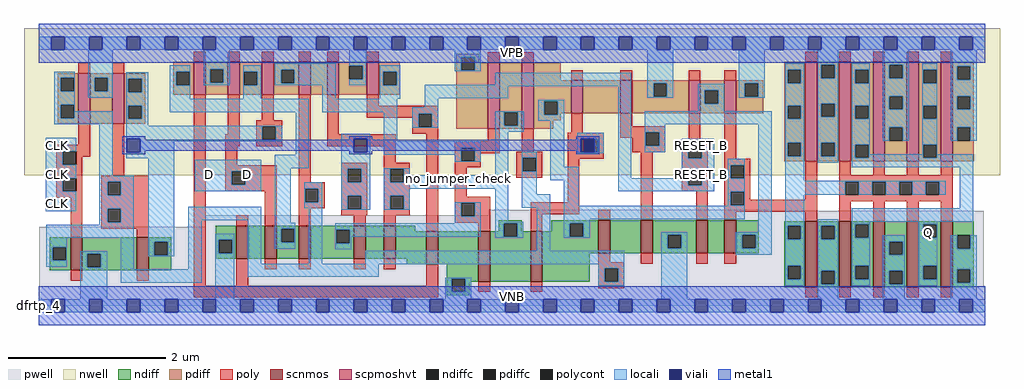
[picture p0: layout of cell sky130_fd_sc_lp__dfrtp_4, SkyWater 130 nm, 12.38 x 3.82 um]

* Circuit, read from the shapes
.subckt sky130_fd_sc_lp__dfrtp_4 CLK D RESET_B VGND VNB VPB VPWR Q
XM1 VGND CLK n1 VNB sky130_fd_pr__nfet_01v8 w=0.42 l=0.15
XM2 n2 n1 VGND VNB sky130_fd_pr__nfet_01v8 w=0.42 l=0.15
XM3 n3 RESET_B VGND VNB sky130_fd_pr__nfet_01v8 w=0.42 l=0.15
XM4 n4 D n3 VNB sky130_fd_pr__nfet_01v8 w=0.42 l=0.15
XM5 n5 n1 n4 VNB sky130_fd_pr__nfet_01v8 w=0.42 l=0.15
XM6 n6 n2 n5 VNB sky130_fd_pr__nfet_01v8 w=0.42 l=0.15
XM7 n7 n8 n6 VNB sky130_fd_pr__nfet_01v8 w=0.42 l=0.15
XM8 VGND RESET_B n7 VNB sky130_fd_pr__nfet_01v8 w=0.42 l=0.15
XM9 n8 n5 VGND VNB sky130_fd_pr__nfet_01v8 w=0.64 l=0.15
XM10 n9 n2 n8 VNB sky130_fd_pr__nfet_01v8 w=0.64 l=0.15
XM11 n10 n1 n9 VNB sky130_fd_pr__nfet_01v8 w=0.42 l=0.15
XM12 VGND n11 n10 VNB sky130_fd_pr__nfet_01v8 w=0.42 l=0.15
XM13 n12 RESET_B VGND VNB sky130_fd_pr__nfet_01v8 w=0.42 l=0.15
XM14 n11 n9 n12 VNB sky130_fd_pr__nfet_01v8 w=0.42 l=0.15
XM15 VGND n9 n13 VNB sky130_fd_pr__nfet_01v8 w=0.84 l=0.15
XM16 Q n13 VGND VNB sky130_fd_pr__nfet_01v8 w=0.84 l=0.15 m=4
XM17 VPWR CLK n1 VPB sky130_fd_pr__pfet_01v8_hvt w=0.64 l=0.15
XM18 n2 n1 VPWR VPB sky130_fd_pr__pfet_01v8_hvt w=0.64 l=0.15
XM19 VPWR RESET_B n4 VPB sky130_fd_pr__pfet_01v8_hvt w=0.42 l=0.15
XM20 n4 D VPWR VPB sky130_fd_pr__pfet_01v8_hvt w=0.42 l=0.15
XM21 n5 n2 n4 VPB sky130_fd_pr__pfet_01v8_hvt w=0.42 l=0.15
XM22 n14 n1 n5 VPB sky130_fd_pr__pfet_01v8_hvt w=0.42 l=0.15
XM23 VPWR n8 n14 VPB sky130_fd_pr__pfet_01v8_hvt w=0.42 l=0.15
XM24 n5 RESET_B VPWR VPB sky130_fd_pr__pfet_01v8_hvt w=0.42 l=0.15
XM25 n8 n5 VPWR VPB sky130_fd_pr__pfet_01v8_hvt w=0.84 l=0.15
XM26 n9 n1 n8 VPB sky130_fd_pr__pfet_01v8_hvt w=0.84 l=0.15
XM27 n15 n2 n9 VPB sky130_fd_pr__pfet_01v8_hvt w=0.42 l=0.15
XM28 VPWR n11 n15 VPB sky130_fd_pr__pfet_01v8_hvt w=0.42 l=0.15
XM29 n11 RESET_B VPWR VPB sky130_fd_pr__pfet_01v8_hvt w=0.42 l=0.15
XM30 VPWR n9 n11 VPB sky130_fd_pr__pfet_01v8_hvt w=0.42 l=0.15
XM31 VPWR n9 n13 VPB sky130_fd_pr__pfet_01v8_hvt w=1.26 l=0.15
XM32 Q n13 VPWR VPB sky130_fd_pr__pfet_01v8_hvt w=1.26 l=0.15 m=4
.ends

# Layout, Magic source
magic
tech sky130A
magscale 1 2
<< nwell >>
rect -38 331 2438 704
<< pwell >>
rect 1141 241 1852 243
rect 1141 229 2397 241
rect 422 200 2397 229
rect 1 49 2397 200
rect 0 0 2400 49
<< scnmos >>
rect 80 90 110 174
rect 248 90 278 174
rect 501 119 531 203
rect 573 119 603 203
rect 659 119 689 203
rect 799 119 829 203
rect 875 119 905 203
rect 983 105 1013 189
rect 1115 61 1145 189
rect 1247 61 1277 189
rect 1419 133 1449 217
rect 1527 133 1557 217
rect 1667 133 1697 217
rect 1739 133 1769 217
rect 1944 47 1974 215
rect 2030 47 2060 215
rect 2116 47 2146 215
rect 2202 47 2232 215
rect 2288 47 2318 215
<< scpmoshvt >>
rect 100 462 130 590
rect 186 462 216 590
rect 393 535 423 619
rect 479 535 509 619
rect 565 535 595 619
rect 659 535 689 619
rect 731 535 761 619
rect 832 535 862 619
rect 1139 449 1169 617
rect 1225 449 1255 617
rect 1350 488 1380 572
rect 1475 488 1505 572
rect 1648 488 1678 572
rect 1739 488 1769 572
rect 1944 367 1974 619
rect 2030 367 2060 619
rect 2116 367 2146 619
rect 2202 367 2232 619
rect 2288 367 2318 619
<< ndiff >>
rect 27 149 80 174
rect 27 115 35 149
rect 69 115 80 149
rect 27 90 80 115
rect 110 132 248 174
rect 110 98 123 132
rect 157 98 248 132
rect 110 90 248 98
rect 278 162 335 174
rect 278 128 293 162
rect 327 128 335 162
rect 278 90 335 128
rect 448 167 501 203
rect 448 133 456 167
rect 490 133 501 167
rect 448 119 501 133
rect 531 119 573 203
rect 603 195 659 203
rect 603 161 614 195
rect 648 161 659 195
rect 603 119 659 161
rect 689 193 799 203
rect 689 159 754 193
rect 788 159 799 193
rect 689 119 799 159
rect 829 119 875 203
rect 905 189 955 203
rect 1167 209 1225 217
rect 1167 189 1179 209
rect 905 119 983 189
rect 933 105 983 119
rect 1013 105 1115 189
rect 1035 69 1115 105
rect 1035 35 1047 69
rect 1081 61 1115 69
rect 1145 175 1179 189
rect 1213 189 1225 209
rect 1299 209 1419 217
rect 1299 189 1347 209
rect 1213 175 1247 189
rect 1145 61 1247 175
rect 1277 175 1347 189
rect 1381 175 1419 209
rect 1277 133 1419 175
rect 1449 133 1527 217
rect 1557 180 1667 217
rect 1557 146 1595 180
rect 1629 146 1667 180
rect 1557 133 1667 146
rect 1697 133 1739 217
rect 1769 180 1826 217
rect 1769 146 1784 180
rect 1818 146 1826 180
rect 1769 133 1826 146
rect 1891 203 1944 215
rect 1891 169 1899 203
rect 1933 169 1944 203
rect 1277 61 1397 133
rect 1081 35 1093 61
rect 1891 101 1944 169
rect 1891 67 1899 101
rect 1933 67 1944 101
rect 1891 47 1944 67
rect 1974 203 2030 215
rect 1974 169 1985 203
rect 2019 169 2030 203
rect 1974 89 2030 169
rect 1974 55 1985 89
rect 2019 55 2030 89
rect 1974 47 2030 55
rect 2060 207 2116 215
rect 2060 173 2071 207
rect 2105 173 2116 207
rect 2060 101 2116 173
rect 2060 67 2071 101
rect 2105 67 2116 101
rect 2060 47 2116 67
rect 2146 163 2202 215
rect 2146 129 2157 163
rect 2191 129 2202 163
rect 2146 89 2202 129
rect 2146 55 2157 89
rect 2191 55 2202 89
rect 2146 47 2202 55
rect 2232 207 2288 215
rect 2232 173 2243 207
rect 2277 173 2288 207
rect 2232 101 2288 173
rect 2232 67 2243 101
rect 2277 67 2288 101
rect 2232 47 2288 67
rect 2318 179 2371 215
rect 2318 145 2329 179
rect 2363 145 2371 179
rect 2318 93 2371 145
rect 2318 59 2329 93
rect 2363 59 2371 93
rect 2318 47 2371 59
rect 1035 27 1093 35
<< pdiff >>
rect 1059 631 1117 639
rect 340 594 393 619
rect 47 578 100 590
rect 47 544 55 578
rect 89 544 100 578
rect 47 510 100 544
rect 47 476 55 510
rect 89 476 100 510
rect 47 462 100 476
rect 130 578 186 590
rect 130 544 141 578
rect 175 544 186 578
rect 130 462 186 544
rect 216 576 269 590
rect 216 542 227 576
rect 261 542 269 576
rect 216 508 269 542
rect 340 560 348 594
rect 382 560 393 594
rect 340 535 393 560
rect 423 600 479 619
rect 423 566 434 600
rect 468 566 479 600
rect 423 535 479 566
rect 509 594 565 619
rect 509 560 520 594
rect 554 560 565 594
rect 509 535 565 560
rect 595 599 659 619
rect 595 565 614 599
rect 648 565 659 599
rect 595 535 659 565
rect 689 535 731 619
rect 761 609 832 619
rect 761 575 787 609
rect 821 575 832 609
rect 761 535 832 575
rect 862 594 915 619
rect 862 560 873 594
rect 907 560 915 594
rect 862 535 915 560
rect 1059 597 1071 631
rect 1105 617 1117 631
rect 1105 597 1139 617
rect 216 474 227 508
rect 261 474 269 508
rect 216 462 269 474
rect 1059 449 1139 597
rect 1169 491 1225 617
rect 1169 457 1180 491
rect 1214 457 1225 491
rect 1169 449 1225 457
rect 1255 572 1324 617
rect 1891 599 1944 619
rect 1255 519 1350 572
rect 1255 485 1282 519
rect 1316 488 1350 519
rect 1380 488 1475 572
rect 1505 564 1648 572
rect 1505 530 1559 564
rect 1593 530 1648 564
rect 1505 488 1648 530
rect 1678 547 1739 572
rect 1678 513 1689 547
rect 1723 513 1739 547
rect 1678 488 1739 513
rect 1769 564 1837 572
rect 1769 530 1791 564
rect 1825 530 1837 564
rect 1769 488 1837 530
rect 1891 565 1899 599
rect 1933 565 1944 599
rect 1891 508 1944 565
rect 1316 485 1324 488
rect 1255 471 1324 485
rect 1255 449 1305 471
rect 1891 474 1899 508
rect 1933 474 1944 508
rect 1891 413 1944 474
rect 1891 379 1899 413
rect 1933 379 1944 413
rect 1891 367 1944 379
rect 1974 611 2030 619
rect 1974 577 1985 611
rect 2019 577 2030 611
rect 1974 513 2030 577
rect 1974 479 1985 513
rect 2019 479 2030 513
rect 1974 413 2030 479
rect 1974 379 1985 413
rect 2019 379 2030 413
rect 1974 367 2030 379
rect 2060 599 2116 619
rect 2060 565 2071 599
rect 2105 565 2116 599
rect 2060 508 2116 565
rect 2060 474 2071 508
rect 2105 474 2116 508
rect 2060 409 2116 474
rect 2060 375 2071 409
rect 2105 375 2116 409
rect 2060 367 2116 375
rect 2146 611 2202 619
rect 2146 577 2157 611
rect 2191 577 2202 611
rect 2146 532 2202 577
rect 2146 498 2157 532
rect 2191 498 2202 532
rect 2146 453 2202 498
rect 2146 419 2157 453
rect 2191 419 2202 453
rect 2146 367 2202 419
rect 2232 599 2288 619
rect 2232 565 2243 599
rect 2277 565 2288 599
rect 2232 508 2288 565
rect 2232 474 2243 508
rect 2277 474 2288 508
rect 2232 409 2288 474
rect 2232 375 2243 409
rect 2277 375 2288 409
rect 2232 367 2288 375
rect 2318 607 2371 619
rect 2318 573 2329 607
rect 2363 573 2371 607
rect 2318 532 2371 573
rect 2318 498 2329 532
rect 2363 498 2371 532
rect 2318 453 2371 498
rect 2318 419 2329 453
rect 2363 419 2371 453
rect 2318 367 2371 419
<< ndiffc >>
rect 35 115 69 149
rect 123 98 157 132
rect 293 128 327 162
rect 456 133 490 167
rect 614 161 648 195
rect 754 159 788 193
rect 1047 35 1081 69
rect 1179 175 1213 209
rect 1347 175 1381 209
rect 1595 146 1629 180
rect 1784 146 1818 180
rect 1899 169 1933 203
rect 1899 67 1933 101
rect 1985 169 2019 203
rect 1985 55 2019 89
rect 2071 173 2105 207
rect 2071 67 2105 101
rect 2157 129 2191 163
rect 2157 55 2191 89
rect 2243 173 2277 207
rect 2243 67 2277 101
rect 2329 145 2363 179
rect 2329 59 2363 93
<< pdiffc >>
rect 55 544 89 578
rect 55 476 89 510
rect 141 544 175 578
rect 227 542 261 576
rect 348 560 382 594
rect 434 566 468 600
rect 520 560 554 594
rect 614 565 648 599
rect 787 575 821 609
rect 873 560 907 594
rect 1071 597 1105 631
rect 227 474 261 508
rect 1180 457 1214 491
rect 1282 485 1316 519
rect 1559 530 1593 564
rect 1689 513 1723 547
rect 1791 530 1825 564
rect 1899 565 1933 599
rect 1899 474 1933 508
rect 1899 379 1933 413
rect 1985 577 2019 611
rect 1985 479 2019 513
rect 1985 379 2019 413
rect 2071 565 2105 599
rect 2071 474 2105 508
rect 2071 375 2105 409
rect 2157 577 2191 611
rect 2157 498 2191 532
rect 2157 419 2191 453
rect 2243 565 2277 599
rect 2243 474 2277 508
rect 2243 375 2277 409
rect 2329 573 2363 607
rect 2329 498 2363 532
rect 2329 419 2363 453
<< poly >>
rect 393 619 423 645
rect 479 619 509 645
rect 565 619 595 645
rect 659 619 689 645
rect 731 619 761 645
rect 832 619 862 645
rect 100 590 130 616
rect 186 590 216 616
rect 1139 617 1169 643
rect 1225 617 1255 643
rect 1944 619 1974 645
rect 2030 619 2060 645
rect 2116 619 2146 645
rect 2202 619 2232 645
rect 2288 619 2318 645
rect 100 408 130 462
rect 44 392 130 408
rect 44 358 60 392
rect 94 378 130 392
rect 94 358 110 378
rect 44 324 110 358
rect 186 330 216 462
rect 44 290 60 324
rect 94 290 110 324
rect 44 274 110 290
rect 80 174 110 274
rect 158 314 278 330
rect 158 280 174 314
rect 208 280 278 314
rect 158 246 278 280
rect 158 212 174 246
rect 208 212 278 246
rect 158 196 278 212
rect 248 174 278 196
rect 80 64 110 90
rect 248 64 278 90
rect 393 51 423 535
rect 479 435 509 535
rect 565 471 595 535
rect 473 405 509 435
rect 551 455 617 471
rect 551 421 567 455
rect 601 421 617 455
rect 551 405 617 421
rect 473 357 503 405
rect 473 341 603 357
rect 473 307 489 341
rect 523 307 603 341
rect 473 291 603 307
rect 501 203 531 229
rect 573 203 603 291
rect 659 313 689 535
rect 731 435 761 535
rect 832 507 862 535
rect 832 487 1013 507
rect 832 477 963 487
rect 947 453 963 477
rect 997 453 1013 487
rect 947 437 1013 453
rect 1350 572 1380 598
rect 1475 572 1505 598
rect 1648 572 1678 598
rect 1739 572 1769 598
rect 731 405 905 435
rect 875 363 905 405
rect 767 347 833 363
rect 767 313 783 347
rect 817 313 833 347
rect 659 297 725 313
rect 659 263 675 297
rect 709 263 725 297
rect 659 247 725 263
rect 767 279 833 313
rect 659 203 689 247
rect 767 245 783 279
rect 817 245 833 279
rect 767 229 833 245
rect 875 347 941 363
rect 875 313 891 347
rect 925 313 941 347
rect 875 279 941 313
rect 875 245 891 279
rect 925 245 941 279
rect 875 229 941 245
rect 799 203 829 229
rect 875 203 905 229
rect 983 189 1013 437
rect 1139 417 1169 449
rect 1055 401 1169 417
rect 1055 367 1071 401
rect 1105 387 1169 401
rect 1225 391 1255 449
rect 1350 439 1380 488
rect 1475 456 1505 488
rect 1475 440 1589 456
rect 1341 423 1433 439
rect 1475 426 1539 440
rect 1105 367 1121 387
rect 1055 351 1121 367
rect 1211 375 1277 391
rect 1055 277 1085 351
rect 1211 341 1227 375
rect 1261 341 1277 375
rect 1211 325 1277 341
rect 1341 389 1383 423
rect 1417 389 1433 423
rect 1505 406 1539 426
rect 1573 406 1589 440
rect 1648 424 1678 488
rect 1505 390 1589 406
rect 1631 408 1697 424
rect 1341 373 1433 389
rect 1055 261 1145 277
rect 1341 262 1371 373
rect 1055 227 1071 261
rect 1105 227 1145 261
rect 1055 211 1145 227
rect 1247 232 1371 262
rect 1115 189 1145 211
rect 501 51 531 119
rect 573 93 603 119
rect 659 93 689 119
rect 799 93 829 119
rect 875 93 905 119
rect 983 51 1013 105
rect 393 21 1013 51
rect 1247 189 1277 232
rect 1419 217 1449 243
rect 1527 217 1557 390
rect 1631 374 1647 408
rect 1681 374 1697 408
rect 1631 340 1697 374
rect 1631 306 1647 340
rect 1681 306 1697 340
rect 1631 290 1697 306
rect 1667 217 1697 290
rect 1739 373 1769 488
rect 1739 357 1805 373
rect 1739 323 1755 357
rect 1789 323 1805 357
rect 1739 289 1805 323
rect 1739 255 1755 289
rect 1789 269 1805 289
rect 1944 269 1974 367
rect 1789 255 1974 269
rect 1739 239 1974 255
rect 1739 217 1769 239
rect 1944 215 1974 239
rect 2030 331 2060 367
rect 2116 331 2146 367
rect 2202 331 2232 367
rect 2288 331 2318 367
rect 2030 315 2318 331
rect 2030 281 2046 315
rect 2080 281 2114 315
rect 2148 281 2182 315
rect 2216 281 2250 315
rect 2284 281 2318 315
rect 2030 265 2318 281
rect 2030 215 2060 265
rect 2116 215 2146 265
rect 2202 215 2232 265
rect 2288 215 2318 265
rect 1419 111 1449 133
rect 1419 95 1485 111
rect 1527 107 1557 133
rect 1667 107 1697 133
rect 1739 107 1769 133
rect 1419 61 1435 95
rect 1469 61 1485 95
rect 1115 35 1145 61
rect 1247 35 1277 61
rect 1419 45 1485 61
rect 1944 21 1974 47
rect 2030 21 2060 47
rect 2116 21 2146 47
rect 2202 21 2232 47
rect 2288 21 2318 47
<< polycont >>
rect 60 358 94 392
rect 60 290 94 324
rect 174 280 208 314
rect 174 212 208 246
rect 567 421 601 455
rect 489 307 523 341
rect 963 453 997 487
rect 783 313 817 347
rect 675 263 709 297
rect 783 245 817 279
rect 891 313 925 347
rect 891 245 925 279
rect 1071 367 1105 401
rect 1227 341 1261 375
rect 1383 389 1417 423
rect 1539 406 1573 440
rect 1071 227 1105 261
rect 1647 374 1681 408
rect 1647 306 1681 340
rect 1755 323 1789 357
rect 1755 255 1789 289
rect 2046 281 2080 315
rect 2114 281 2148 315
rect 2182 281 2216 315
rect 2250 281 2284 315
rect 1435 61 1469 95
<< locali >>
rect 0 649 31 683
rect 65 649 127 683
rect 161 649 223 683
rect 257 649 319 683
rect 353 649 415 683
rect 449 649 511 683
rect 545 649 607 683
rect 641 649 703 683
rect 737 649 799 683
rect 833 649 895 683
rect 929 649 991 683
rect 1025 649 1087 683
rect 1121 649 1183 683
rect 1217 649 1279 683
rect 1313 649 1375 683
rect 1409 649 1471 683
rect 1505 649 1567 683
rect 1601 649 1663 683
rect 1697 649 1759 683
rect 1793 649 1855 683
rect 1889 649 1951 683
rect 1985 649 2047 683
rect 2081 649 2143 683
rect 2177 649 2239 683
rect 2273 649 2335 683
rect 2369 649 2400 683
rect 39 578 91 594
rect 39 544 55 578
rect 89 544 91 578
rect 39 510 91 544
rect 125 578 187 649
rect 332 594 384 610
rect 125 544 141 578
rect 175 544 187 578
rect 125 528 187 544
rect 221 576 277 592
rect 221 542 227 576
rect 261 542 277 576
rect 39 476 55 510
rect 89 494 91 510
rect 221 508 277 542
rect 89 476 187 494
rect 39 460 187 476
rect 17 392 94 426
rect 17 358 60 392
rect 17 324 94 358
rect 17 290 60 324
rect 17 240 94 290
rect 153 330 187 460
rect 221 474 227 508
rect 261 474 277 508
rect 332 560 348 594
rect 382 560 384 594
rect 332 525 384 560
rect 418 600 484 649
rect 418 566 434 600
rect 468 566 484 600
rect 418 559 484 566
rect 518 594 564 610
rect 518 560 520 594
rect 554 560 564 594
rect 518 525 564 560
rect 598 599 753 615
rect 598 565 614 599
rect 648 565 753 599
rect 598 559 753 565
rect 787 609 830 649
rect 1055 631 1121 649
rect 821 575 830 609
rect 787 559 830 575
rect 864 594 917 610
rect 1055 597 1071 631
rect 1105 597 1121 631
rect 1055 595 1121 597
rect 864 560 873 594
rect 907 560 917 594
rect 1157 561 1503 591
rect 719 525 753 559
rect 864 525 917 560
rect 979 557 1503 561
rect 979 527 1191 557
rect 332 491 685 525
rect 719 491 909 525
rect 979 504 1013 527
rect 221 457 277 474
rect 221 455 617 457
rect 221 424 567 455
rect 221 390 223 424
rect 257 421 567 424
rect 601 421 617 455
rect 257 417 617 421
rect 257 390 343 417
rect 221 374 343 390
rect 651 383 685 491
rect 153 314 241 330
rect 153 280 174 314
rect 208 280 241 314
rect 153 246 241 280
rect 153 212 174 246
rect 208 212 241 246
rect 153 206 241 212
rect 19 172 241 206
rect 19 149 71 172
rect 19 115 35 149
rect 69 115 71 149
rect 19 99 71 115
rect 105 132 173 138
rect 105 98 123 132
rect 157 98 173 132
rect 105 17 173 98
rect 207 92 241 172
rect 277 162 343 374
rect 395 341 564 370
rect 395 307 489 341
rect 523 307 564 341
rect 395 291 564 307
rect 598 349 685 383
rect 767 424 841 436
rect 767 390 799 424
rect 833 390 841 424
rect 277 128 293 162
rect 327 128 343 162
rect 277 126 343 128
rect 379 217 564 251
rect 379 92 413 217
rect 207 58 413 92
rect 447 167 496 183
rect 447 133 456 167
rect 490 133 496 167
rect 447 17 496 133
rect 530 107 564 217
rect 598 211 639 349
rect 767 347 841 390
rect 875 417 909 491
rect 947 487 1013 504
rect 1266 519 1332 523
rect 947 453 963 487
rect 997 453 1013 487
rect 947 451 1013 453
rect 1157 491 1230 493
rect 1157 457 1180 491
rect 1214 457 1230 491
rect 1266 485 1282 519
rect 1316 485 1332 519
rect 1266 469 1332 485
rect 1157 441 1230 457
rect 875 401 1121 417
rect 875 383 1071 401
rect 1055 367 1071 383
rect 1105 367 1121 401
rect 1055 365 1121 367
rect 767 313 783 347
rect 817 313 841 347
rect 673 297 718 313
rect 673 263 675 297
rect 709 263 718 297
rect 673 247 718 263
rect 598 195 650 211
rect 598 161 614 195
rect 648 161 650 195
rect 598 145 650 161
rect 684 107 718 247
rect 767 279 841 313
rect 767 245 783 279
rect 817 245 841 279
rect 767 243 841 245
rect 875 347 941 349
rect 875 313 891 347
rect 925 331 941 347
rect 1157 331 1191 441
rect 925 313 1191 331
rect 875 297 1191 313
rect 875 279 941 297
rect 875 245 891 279
rect 925 245 941 279
rect 875 243 941 245
rect 1055 261 1121 263
rect 1055 227 1071 261
rect 1105 227 1121 261
rect 1055 209 1121 227
rect 752 193 1121 209
rect 752 159 754 193
rect 788 175 1121 193
rect 1157 213 1191 297
rect 1225 375 1263 391
rect 1225 341 1227 375
rect 1261 341 1263 375
rect 1225 283 1263 341
rect 1297 353 1332 469
rect 1366 424 1433 439
rect 1366 390 1375 424
rect 1409 423 1433 424
rect 1366 389 1383 390
rect 1417 389 1433 423
rect 1366 387 1433 389
rect 1297 319 1369 353
rect 1225 249 1297 283
rect 1157 209 1229 213
rect 1157 175 1179 209
rect 1213 175 1229 209
rect 788 159 792 175
rect 1157 173 1229 175
rect 752 143 792 159
rect 1263 139 1297 249
rect 1331 254 1369 319
rect 1469 324 1503 557
rect 1543 564 1609 649
rect 1543 530 1559 564
rect 1593 530 1609 564
rect 1775 564 1841 649
rect 1543 528 1609 530
rect 1673 547 1739 563
rect 1673 513 1689 547
rect 1723 513 1739 547
rect 1775 530 1791 564
rect 1825 530 1841 564
rect 1775 528 1841 530
rect 1893 599 1942 615
rect 1893 565 1899 599
rect 1933 565 1942 599
rect 1673 494 1739 513
rect 1893 508 1942 565
rect 1537 460 1859 494
rect 1537 440 1589 460
rect 1537 406 1539 440
rect 1573 406 1589 440
rect 1537 390 1589 406
rect 1631 408 1713 424
rect 1631 374 1647 408
rect 1681 374 1713 408
rect 1631 340 1713 374
rect 1631 324 1647 340
rect 1469 306 1647 324
rect 1681 306 1713 340
rect 1469 290 1713 306
rect 1747 357 1791 373
rect 1747 323 1755 357
rect 1789 323 1791 357
rect 1747 289 1791 323
rect 1747 255 1755 289
rect 1789 255 1791 289
rect 1747 254 1791 255
rect 1331 220 1791 254
rect 1331 209 1397 220
rect 1331 175 1347 209
rect 1381 175 1397 209
rect 1825 186 1859 460
rect 1331 173 1397 175
rect 1579 180 1645 186
rect 1579 146 1595 180
rect 1629 146 1645 180
rect 828 107 1485 139
rect 530 105 1485 107
rect 530 73 862 105
rect 1419 95 1485 105
rect 1031 69 1097 71
rect 1031 35 1047 69
rect 1081 35 1097 69
rect 1419 61 1435 95
rect 1469 61 1485 95
rect 1419 51 1485 61
rect 1031 17 1097 35
rect 1579 17 1645 146
rect 1768 180 1859 186
rect 1768 146 1784 180
rect 1818 146 1859 180
rect 1768 130 1859 146
rect 1893 474 1899 508
rect 1933 474 1942 508
rect 1893 413 1942 474
rect 1893 379 1899 413
rect 1933 379 1942 413
rect 1893 317 1942 379
rect 1976 611 2028 649
rect 1976 577 1985 611
rect 2019 577 2028 611
rect 1976 513 2028 577
rect 1976 479 1985 513
rect 2019 479 2028 513
rect 1976 413 2028 479
rect 1976 379 1985 413
rect 2019 379 2028 413
rect 1976 363 2028 379
rect 2062 599 2107 615
rect 2062 565 2071 599
rect 2105 565 2107 599
rect 2062 508 2107 565
rect 2062 474 2071 508
rect 2105 474 2107 508
rect 2062 409 2107 474
rect 2141 611 2207 649
rect 2141 577 2157 611
rect 2191 577 2207 611
rect 2141 532 2207 577
rect 2141 498 2157 532
rect 2191 498 2207 532
rect 2141 453 2207 498
rect 2141 419 2157 453
rect 2191 419 2207 453
rect 2241 599 2279 615
rect 2241 565 2243 599
rect 2277 565 2279 599
rect 2241 508 2279 565
rect 2241 474 2243 508
rect 2277 474 2279 508
rect 2062 375 2071 409
rect 2105 385 2107 409
rect 2241 409 2279 474
rect 2313 607 2379 649
rect 2313 573 2329 607
rect 2363 573 2379 607
rect 2313 532 2379 573
rect 2313 498 2329 532
rect 2363 498 2379 532
rect 2313 453 2379 498
rect 2313 419 2329 453
rect 2363 419 2379 453
rect 2241 385 2243 409
rect 2105 375 2243 385
rect 2277 385 2279 409
rect 2277 375 2370 385
rect 2062 351 2370 375
rect 1893 315 2300 317
rect 1893 281 2046 315
rect 2080 281 2114 315
rect 2148 281 2182 315
rect 2216 281 2250 315
rect 2284 281 2300 315
rect 1893 203 1942 281
rect 2336 247 2370 351
rect 1893 169 1899 203
rect 1933 169 1942 203
rect 1893 101 1942 169
rect 1893 67 1899 101
rect 1933 67 1942 101
rect 1893 51 1942 67
rect 1976 203 2028 219
rect 1976 169 1985 203
rect 2019 169 2028 203
rect 1976 89 2028 169
rect 1976 55 1985 89
rect 2019 55 2028 89
rect 1976 17 2028 55
rect 2062 213 2370 247
rect 2062 207 2107 213
rect 2062 173 2071 207
rect 2105 173 2107 207
rect 2230 207 2279 213
rect 2062 101 2107 173
rect 2062 67 2071 101
rect 2105 67 2107 101
rect 2062 51 2107 67
rect 2141 163 2196 179
rect 2141 129 2157 163
rect 2191 129 2196 163
rect 2141 89 2196 129
rect 2141 55 2157 89
rect 2191 55 2196 89
rect 2141 17 2196 55
rect 2230 173 2243 207
rect 2277 173 2279 207
rect 2230 101 2279 173
rect 2230 67 2243 101
rect 2277 67 2279 101
rect 2230 51 2279 67
rect 2313 145 2329 179
rect 2363 145 2379 179
rect 2313 93 2379 145
rect 2313 59 2329 93
rect 2363 59 2379 93
rect 2313 17 2379 59
rect 0 -17 31 17
rect 65 -17 127 17
rect 161 -17 223 17
rect 257 -17 319 17
rect 353 -17 415 17
rect 449 -17 511 17
rect 545 -17 607 17
rect 641 -17 703 17
rect 737 -17 799 17
rect 833 -17 895 17
rect 929 -17 991 17
rect 1025 -17 1087 17
rect 1121 -17 1183 17
rect 1217 -17 1279 17
rect 1313 -17 1375 17
rect 1409 -17 1471 17
rect 1505 -17 1567 17
rect 1601 -17 1663 17
rect 1697 -17 1759 17
rect 1793 -17 1855 17
rect 1889 -17 1951 17
rect 1985 -17 2047 17
rect 2081 -17 2143 17
rect 2177 -17 2239 17
rect 2273 -17 2335 17
rect 2369 -17 2400 17
<< viali >>
rect 31 649 65 683
rect 127 649 161 683
rect 223 649 257 683
rect 319 649 353 683
rect 415 649 449 683
rect 511 649 545 683
rect 607 649 641 683
rect 703 649 737 683
rect 799 649 833 683
rect 895 649 929 683
rect 991 649 1025 683
rect 1087 649 1121 683
rect 1183 649 1217 683
rect 1279 649 1313 683
rect 1375 649 1409 683
rect 1471 649 1505 683
rect 1567 649 1601 683
rect 1663 649 1697 683
rect 1759 649 1793 683
rect 1855 649 1889 683
rect 1951 649 1985 683
rect 2047 649 2081 683
rect 2143 649 2177 683
rect 2239 649 2273 683
rect 2335 649 2369 683
rect 223 390 257 424
rect 799 390 833 424
rect 1375 423 1409 424
rect 1375 390 1383 423
rect 1383 390 1409 423
rect 31 -17 65 17
rect 127 -17 161 17
rect 223 -17 257 17
rect 319 -17 353 17
rect 415 -17 449 17
rect 511 -17 545 17
rect 607 -17 641 17
rect 703 -17 737 17
rect 799 -17 833 17
rect 895 -17 929 17
rect 991 -17 1025 17
rect 1087 -17 1121 17
rect 1183 -17 1217 17
rect 1279 -17 1313 17
rect 1375 -17 1409 17
rect 1471 -17 1505 17
rect 1567 -17 1601 17
rect 1663 -17 1697 17
rect 1759 -17 1793 17
rect 1855 -17 1889 17
rect 1951 -17 1985 17
rect 2047 -17 2081 17
rect 2143 -17 2177 17
rect 2239 -17 2273 17
rect 2335 -17 2369 17
<< metal1 >>
rect 0 683 2400 715
rect 0 649 31 683
rect 65 649 127 683
rect 161 649 223 683
rect 257 649 319 683
rect 353 649 415 683
rect 449 649 511 683
rect 545 649 607 683
rect 641 649 703 683
rect 737 649 799 683
rect 833 649 895 683
rect 929 649 991 683
rect 1025 649 1087 683
rect 1121 649 1183 683
rect 1217 649 1279 683
rect 1313 649 1375 683
rect 1409 649 1471 683
rect 1505 649 1567 683
rect 1601 649 1663 683
rect 1697 649 1759 683
rect 1793 649 1855 683
rect 1889 649 1951 683
rect 1985 649 2047 683
rect 2081 649 2143 683
rect 2177 649 2239 683
rect 2273 649 2335 683
rect 2369 649 2400 683
rect 0 617 2400 649
rect 211 424 269 430
rect 211 390 223 424
rect 257 421 269 424
rect 787 424 845 430
rect 787 421 799 424
rect 257 393 799 421
rect 257 390 269 393
rect 211 384 269 390
rect 787 390 799 393
rect 833 421 845 424
rect 1363 424 1421 430
rect 1363 421 1375 424
rect 833 393 1375 421
rect 833 390 845 393
rect 787 384 845 390
rect 1363 390 1375 393
rect 1409 390 1421 424
rect 1363 384 1421 390
rect 0 17 2400 49
rect 0 -17 31 17
rect 65 -17 127 17
rect 161 -17 223 17
rect 257 -17 319 17
rect 353 -17 415 17
rect 449 -17 511 17
rect 545 -17 607 17
rect 641 -17 703 17
rect 737 -17 799 17
rect 833 -17 895 17
rect 929 -17 991 17
rect 1025 -17 1087 17
rect 1121 -17 1183 17
rect 1217 -17 1279 17
rect 1313 -17 1375 17
rect 1409 -17 1471 17
rect 1505 -17 1567 17
rect 1601 -17 1663 17
rect 1697 -17 1759 17
rect 1793 -17 1855 17
rect 1889 -17 1951 17
rect 1985 -17 2047 17
rect 2081 -17 2143 17
rect 2177 -17 2239 17
rect 2273 -17 2335 17
rect 2369 -17 2400 17
rect 0 -49 2400 -17
<< labels >>
flabel pwell s 0 0 2400 49 0 FreeSans 200 0 0 0 VNB
port 5 nsew ground bidirectional
flabel nwell s 0 617 2400 666 0 FreeSans 200 0 0 0 VPB
port 6 nsew power bidirectional
rlabel comment s 0 0 0 0 4 dfrtp_4
flabel comment s 1065 322 1065 322 0 FreeSans 200 90 0 0 no_jumper_check
flabel metal1 s 0 617 2400 666 0 FreeSans 340 0 0 0 VPWR
port 7 nsew power bidirectional
flabel metal1 s 0 0 2400 49 0 FreeSans 340 0 0 0 VGND
port 4 nsew ground bidirectional
flabel locali s 1663 316 1697 350 0 FreeSans 340 0 0 0 RESET_B
port 3 nsew signal input
flabel locali s 1663 390 1697 424 0 FreeSans 340 0 0 0 RESET_B
port 3 nsew signal input
flabel locali s 31 242 65 276 0 FreeSans 340 0 0 0 CLK
port 1 nsew clock input
flabel locali s 31 316 65 350 0 FreeSans 340 0 0 0 CLK
port 1 nsew clock input
flabel locali s 31 390 65 424 0 FreeSans 340 0 0 0 CLK
port 1 nsew clock input
flabel locali s 415 316 449 350 0 FreeSans 340 0 0 0 D
port 2 nsew signal input
flabel locali s 511 316 545 350 0 FreeSans 340 0 0 0 D
port 2 nsew signal input
flabel locali s 2239 168 2273 202 0 FreeSans 340 0 0 0 Q
port 8 nsew signal output
<< properties >>
string LEFsite unit
string LEFclass CORE
string FIXED_BBOX 0 0 2400 666
string GDS_FILE $PDKPATH/libs.ref/sky130_fd_sc_lp/gds/sky130_fd_sc_lp.gds
string LEFsymmetry X Y R90
string GDS_END 555228
string GDS_START 537588
<< end >>
